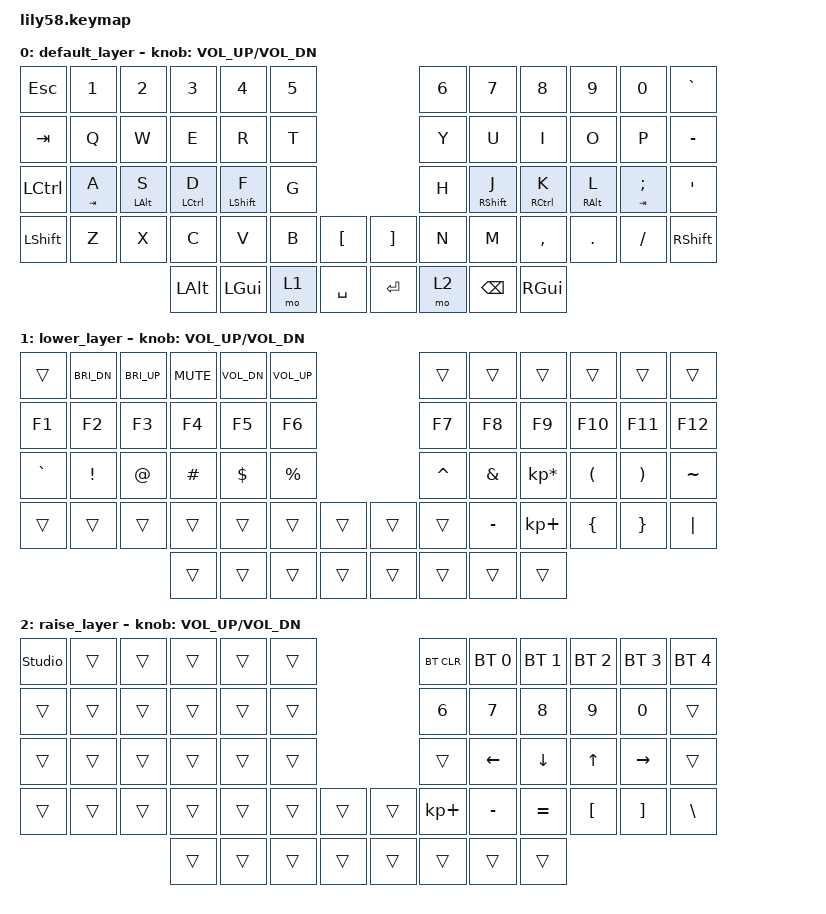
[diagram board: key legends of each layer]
/*
 * Copyright (c) 2020 The ZMK Contributors
 *
 * SPDX-License-Identifier: MIT
 */

#include <behaviors.dtsi>
#include <dt-bindings/zmk/bt.h>
#include <dt-bindings/zmk/keys.h>

/ {
    behaviors {
        new_behavior: new_behavior {
            compatible = "zmk,behavior-hold-tap";
            label = "NEW_BEHAVIOR";
            bindings = <&kp>, <&kp>;

            #binding-cells = <2>;
            hold-trigger-key-positions = <25 26 27 28 31 32 33 34>;
            tapping-term-ms = <100>;
            require-prior-idle-ms = <200>;
        };
    };

    keymap {
        compatible = "zmk,keymap";

        default_layer {
            // ------------------------------------------------------------------------------------------------------------
            // |  ESC  |  1  |  2  |  3   |  4   |  5   |                   |  6   |  7    |  8    |  9   |   0   |   `   |
            // |  TAB  |  Q  |  W  |  E   |  R   |  T   |                   |  Y   |  U    |  I    |  O   |   P   |   -   |
            // |  CTRL |  A  |  S  |  D   |  F   |  G   |                   |  H   |  J    |  K    |  L   |   ;   |   '   |
            // | SHIFT |  Z  |  X  |  C   |  V   |  B   |   "["  |  |  "]"  |  N   |  M    |  ,    |  .   |   /   | SHIFT |
            //                     | ALT  | GUI  | LOWER|  SPACE |  | ENTER | RAISE| BSPC  | GUI   |

            bindings = <
&kp ESC    &kp N1               &kp N2                    &kp N3                 &kp N4                      &kp N5                         &kp N6  &kp N7                       &kp N8                 &kp N9                     &kp N0                  &kp GRAVE
&kp TAB    &kp Q                &kp W                     &kp E                  &kp R                       &kp T                          &kp Y   &kp U                        &kp I                  &kp O                      &kp P                   &kp MINUS
&kp LCTRL  &new_behavior TAB A  &new_behavior LEFT_ALT S  &new_behavior LCTRL D  &new_behavior LEFT_SHIFT F  &kp G                          &kp H   &new_behavior RIGHT_SHIFT J  &new_behavior RCTRL K  &new_behavior RIGHT_ALT L  &new_behavior TAB SEMI  &kp SQT
&kp LSHFT  &kp Z                &kp X                     &kp C                  &kp V                       &kp B   &kp LBKT     &kp RBKT  &kp N   &kp M                        &kp COMMA              &kp DOT                    &kp FSLH                &kp RSHFT
                                                          &kp LALT               &kp LGUI                    &mo 1   &kp SPACE    &kp RET   &mo 2   &kp BSPC                     &kp RGUI
            >;

            sensor-bindings = <&inc_dec_kp C_VOL_UP C_VOL_DN>;
        };

        lower_layer {
            // --------------------------------------------------------------------------------------------------------------
            // | LPAD  | BRDn | BRUp |  MUT |  Vo- |  Vo+ |                   |      |       |       |      |       |       |
            // |  F1   |  F2  |  F3  |  F4  |  F5  |  F6  |                   |  F7  |  F8   |  F9   |  F10 |  F11  |  F12  |
            // |   `   |  !   |  @   |  #   |  $   |  %   |                   |  ^   |  &    |  *    |  (   |   )   |   ~   |
            // |       |      |      |      |      |      |        |  |       |      |  _    |  +    |  {   |   }   |  "|"  |
            //                       |      |      |      |        |  |       |      |       |       |

            bindings = <
&trans     &kp C_BRI_DN  &kp C_BRI_UP  &kp C_MUTE  &kp C_VOL_DN  &kp C_VOL_UP                    &trans     &trans     &trans           &trans    &trans    &trans
&kp F1     &kp F2        &kp F3        &kp F4      &kp F5        &kp F6                          &kp F7     &kp F8     &kp F9           &kp F10   &kp F11   &kp F12
&kp GRAVE  &kp EXCL      &kp AT        &kp HASH    &kp DOLLAR    &kp PRCNT                       &kp CARET  &kp AMPS   &kp KP_MULTIPLY  &kp LPAR  &kp RPAR  &kp TILDE
&trans     &trans        &trans        &trans      &trans        &trans        &trans    &trans  &trans     &kp MINUS  &kp KP_PLUS      &kp LBRC  &kp RBRC  &kp PIPE
                                       &trans      &trans        &trans        &trans    &trans  &trans     &trans     &trans
            >;

            sensor-bindings = <&inc_dec_kp C_VOL_UP C_VOL_DN>;
        };

        raise_layer {
            // ------------------------------------------------------------------------------------------------------------
            // |       |     |     |      |      |      |                   |      |       |       |      |       |       |
            // |   `   |  1  |  2  |  3   |  4   |  5   |                   |  6   |   7   |   8   |  9   |   0   |       |
            // |   F1  |  F2 |  F3 |  F4  |  F5  |  F6  |                   |      |   <-  |   v   |  ^   |  ->   |       |
            // |   F7  |  F8 |  F9 |  F10 |  F11 |  F12 |        |  |       |  +   |   -   |   =   |  [   |   ]   |   \   |
            //                     |      |      |      |        |  |       |      |       |       |

            bindings = <
&studio_unlock  &trans  &trans  &trans  &trans  &trans                    &bt BT_CLR   &bt BT_SEL 0  &bt BT_SEL 1  &bt BT_SEL 2  &bt BT_SEL 3  &bt BT_SEL 4
&trans          &trans  &trans  &trans  &trans  &trans                    &kp N6       &kp N7        &kp N8        &kp N9        &kp N0        &trans
&trans          &trans  &trans  &trans  &trans  &trans                    &trans       &kp LEFT      &kp DOWN      &kp UP        &kp RIGHT     &trans
&trans          &trans  &trans  &trans  &trans  &trans  &trans    &trans  &kp KP_PLUS  &kp MINUS     &kp EQUAL     &kp LBKT      &kp RBKT      &kp BSLH
                                &trans  &trans  &trans  &trans    &trans  &trans       &trans        &trans
            >;

            sensor-bindings = <&inc_dec_kp C_VOL_UP C_VOL_DN>;
        };
    };
};
